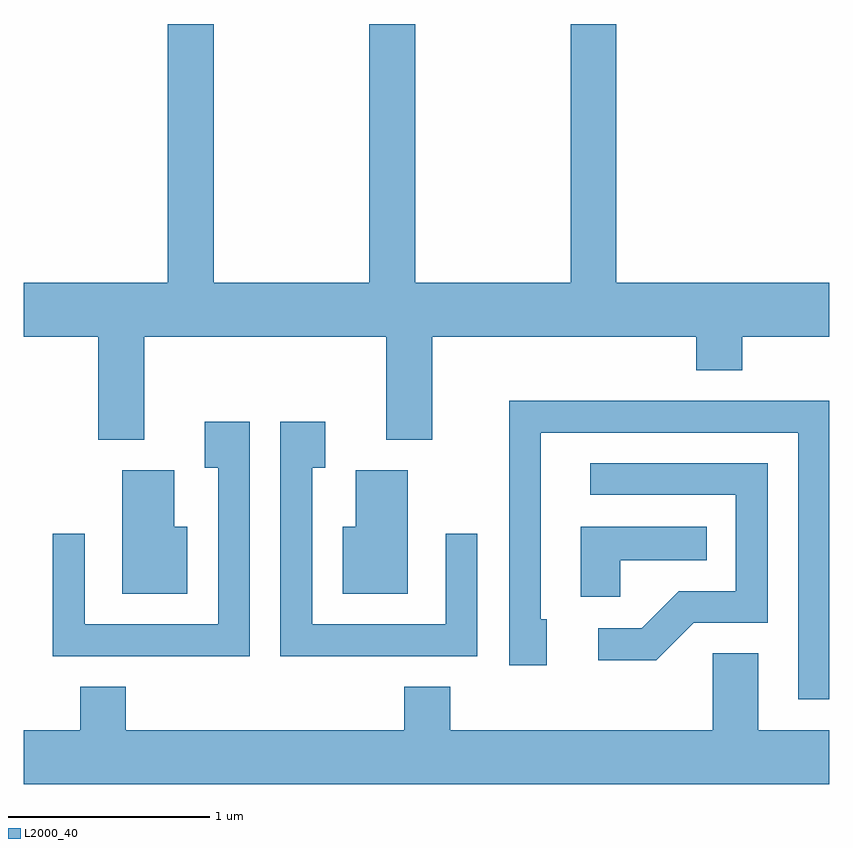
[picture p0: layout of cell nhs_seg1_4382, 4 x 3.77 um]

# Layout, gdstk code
import gdstk
lib = gdstk.Library(unit=1e-6, precision=1e-09)
def P(c, l, *ps):  # polygons
    for p in ps: c.add(gdstk.Polygon(p, *l))
L2000_40 = (2000, 40)

nhs_seg1_4382 = lib.new_cell('nhs_seg1_4382')
P(nhs_seg1_4382, L2000_40, [(318.209,844.076),(319.411,844.076),(319.411,843.566),(319.639,843.566),(319.639,844.076),(320.951,844.076),(320.951,843.911),(321.179,843.911),(321.179,844.076),(321.611,844.076),(321.611,844.344),(320.554,844.344),(320.554,845.629),(320.326,845.629),(320.326,844.344),(319.554,844.344),(319.554,845.629),(319.326,845.629),(319.326,844.344),(318.554,844.344),(318.554,845.629),(318.326,845.629),(318.326,844.344),(317.611,844.344),(317.611,844.076),(317.981,844.076),(317.981,843.566),(318.209,843.566)],
  [(321.611,843.759),(320.021,843.759),(320.021,842.446),(320.209,842.446),(320.209,842.674),(320.179,842.674),(320.179,843.601),(321.456,843.601),(321.456,842.276),(321.611,842.276)],
  [(319.864,843.098),(319.706,843.098),(319.706,842.649),(319.044,842.649),(319.044,843.426),(319.109,843.426),(319.109,843.654),(318.886,843.654),(318.886,842.491),(319.864,842.491)],
  [(318.734,843.654),(318.511,843.654),(318.511,843.426),(318.576,843.426),(318.576,842.649),(317.914,842.649),(317.914,843.098),(317.756,843.098),(317.756,842.491),(318.734,842.491)],
  [(320.937,842.656),(321.304,842.656),(321.304,843.449),(320.423,843.449),(320.423,843.291),(321.146,843.291),(321.146,842.814),(320.864,842.814),(320.679,842.629),(320.463,842.629),(320.463,842.471),(320.752,842.471)],
  [(318.424,843.134),(318.359,843.134),(318.359,843.414),(318.101,843.414),(318.101,842.801),(318.424,842.801)],
  [(319.519,843.414),(319.261,843.414),(319.261,843.134),(319.196,843.134),(319.196,842.801),(319.519,842.801)],
  [(320.574,842.966),(321.003,842.966),(321.003,843.134),(320.376,843.134),(320.376,842.786),(320.574,842.786)],
  [(321.611,842.124),(321.259,842.124),(321.259,842.504),(321.031,842.504),(321.031,842.124),(319.729,842.124),(319.729,842.339),(319.501,842.339),(319.501,842.124),(318.119,842.124),(318.119,842.339),(317.891,842.339),(317.891,842.124),(317.611,842.124),(317.611,841.856),(321.611,841.856)])

lib.write_gds('nhs_seg1_4382.gds')
